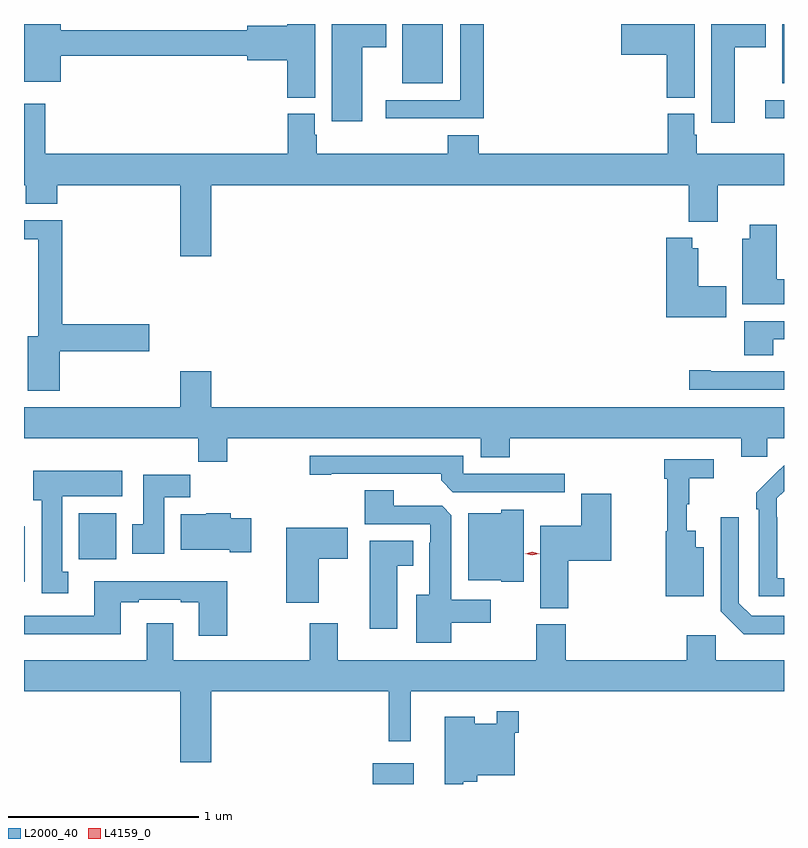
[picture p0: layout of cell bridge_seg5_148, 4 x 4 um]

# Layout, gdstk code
import gdstk
lib = gdstk.Library(unit=1e-6, precision=1e-09)
def R(c, l, rs):  # rectangles x0, y0, x1, y1
    for r in rs: c.add(gdstk.rectangle(r[:2], r[2:], *l))
def P(c, l, *ps):  # polygons
    for p in ps: c.add(gdstk.Polygon(p, *l))
L2000_40 = (2000, 40)
L4159_0 = (4159, 0)

bridge_seg5_148 = lib.new_cell('bridge_seg5_148')
R(bridge_seg5_148, L2000_40, [(154.034,884.244,154.249,884.353), (152.198,885.308,152.203,885.6), (152.486,885.428,152.683,885.67), (156.099,887.747,156.198,887.844), (154.19,887.933,154.402,888.244), (156.188,887.933,156.198,888.244)])
P(bridge_seg5_148, L2000_40, [(153.73,888.244),(153.584,888.244),(153.584,888.236),(153.374,888.236),(153.374,888.212),(152.392,888.212),(152.392,888.244),(152.198,888.244),(152.198,887.939),(152.392,887.939),(152.392,888.076),(153.374,888.076),(153.374,888.053),(153.584,888.053),(153.584,887.857),(153.73,887.857)],
  [(153.979,888.122),(154.105,888.122),(154.105,888.244),(153.818,888.244),(153.818,887.732),(153.979,887.732)],
  [(155.728,888.244),(155.342,888.244),(155.342,888.083),(155.582,888.083),(155.582,887.857),(155.728,887.857)],
  [(154.619,888.244),(154.493,888.244),(154.493,887.844),(154.101,887.844),(154.101,887.747),(154.619,887.747)],
  [(155.938,888.122),(156.103,888.122),(156.103,888.244),(155.816,888.244),(155.816,887.724),(155.938,887.724)],
  [(153.184,887.396),(155.696,887.396),(155.696,887.204),(155.848,887.204),(155.848,887.396),(156.198,887.396),(156.198,887.56),(155.738,887.56),(155.738,887.661),(155.725,887.661),(155.725,887.772),(155.585,887.772),(155.585,887.56),(154.592,887.56),(154.592,887.659),(154.427,887.659),(154.427,887.56),(153.74,887.56),(153.74,887.661),(153.727,887.661),(153.727,887.772),(153.587,887.772),(153.587,887.56),(152.309,887.56),(152.309,887.824),(152.198,887.824),(152.198,887.396),(152.207,887.396),(152.207,887.297),(152.372,887.297),(152.372,887.396),(153.02,887.396),(153.02,887.022),(153.184,887.022)],
  [(152.386,886.522),(152.857,886.522),(152.857,886.664),(152.399,886.664),(152.399,887.21),(152.198,887.21),(152.198,887.112),(152.273,887.112),(152.273,886.6),(152.219,886.6),(152.219,886.314),(152.386,886.314)],
  [(156.198,886.9),(156.16,886.9),(156.16,887.188),(156.017,887.188),(156.017,887.113),(155.978,887.113),(155.978,886.769),(156.198,886.769)],
  [(155.893,886.863),(155.746,886.863),(155.746,887.065),(155.716,887.065),(155.716,887.119),(155.579,887.119),(155.579,886.7),(155.893,886.7)],
  [(156.142,886.584),(156.198,886.584),(156.198,886.68),(155.99,886.68),(155.99,886.501),(156.142,886.501)],
  [(156.198,886.416),(155.812,886.416),(155.812,886.421),(155.7,886.421),(155.7,886.32),(156.198,886.32)],
  [(153.267,886.064),(154.601,886.064),(154.601,885.965),(154.754,885.965),(154.754,886.064),(155.972,886.064),(155.972,885.966),(156.111,885.966),(156.111,886.064),(156.198,886.064),(156.198,886.228),(153.184,886.228),(153.184,886.417),(153.02,886.417),(153.02,886.228),(152.198,886.228),(152.198,886.064),(153.115,886.064),(153.115,885.94),(153.267,885.94)],
  [(155.044,885.876),(154.509,885.876),(154.509,885.972),(153.702,885.972),(153.702,885.871),(153.814,885.871),(153.814,885.876),(154.394,885.876),(154.394,885.842),(154.455,885.78),(155.044,885.78)],
  [(155.776,885.49),(155.734,885.49),(155.734,885.577),(155.687,885.577),(155.687,885.717),(155.698,885.717),(155.698,885.853),(155.827,885.853),(155.827,885.954),(155.569,885.954),(155.569,885.851),(155.584,885.851),(155.584,885.573),(155.576,885.573),(155.576,885.233),(155.776,885.233)],
  [(156.198,885.327),(156.162,885.327),(156.162,885.647),(156.159,885.647),(156.159,885.747),(156.198,885.786),(156.198,885.922),(156.157,885.881),(156.156,885.882),(156.051,885.777),(156.051,885.689),(156.066,885.689),(156.066,885.231),(156.198,885.231)],
  [(152.431,885.362),(152.398,885.362),(152.398,885.758),(152.716,885.758),(152.716,885.892),(152.246,885.892),(152.246,885.738),(152.291,885.738),(152.291,885.249),(152.431,885.249)],
  [(152.935,885.752),(153.074,885.752),(153.074,885.871),(152.825,885.871),(152.825,885.612),(152.768,885.612),(152.768,885.456),(152.935,885.456)],
  [(154.447,885.092),(154.654,885.092),(154.654,885.214),(154.447,885.214),(154.447,885.659),(154.398,885.708),(154.144,885.708),(154.144,885.791),(153.992,885.791),(153.992,885.612),(154.335,885.612),(154.335,885.515),(154.331,885.515),(154.331,885.241),(154.262,885.241),(154.262,884.987),(154.447,884.987)],
  [(155.063,885.419),(155.29,885.419),(155.29,885.772),(155.132,885.772),(155.132,885.604),(154.916,885.604),(154.916,885.169),(155.063,885.169)],
  [(154.828,885.688),(154.71,885.688),(154.71,885.67),(154.535,885.67),(154.535,885.317),(154.71,885.317),(154.71,885.308),(154.828,885.308)],
  [(153.394,885.642),(153.287,885.642),(153.287,885.67),(153.156,885.67),(153.156,885.664),(153.023,885.664),(153.023,885.476),(153.281,885.476),(153.281,885.464),(153.394,885.464)],
  [(156.198,885.129),(156.027,885.129),(155.961,885.195),(155.961,885.649),(155.865,885.649),(155.865,885.153),(155.986,885.032),(156.198,885.032)],
  [(153.748,885.43),(153.901,885.43),(153.901,885.592),(153.578,885.592),(153.578,885.197),(153.748,885.197)],
  [(154.162,885.392),(154.246,885.392),(154.246,885.523),(154.019,885.523),(154.019,885.06),(154.162,885.06)],
  [(153.267,885.31),(152.567,885.31),(152.567,885.129),(152.198,885.129),(152.198,885.032),(152.707,885.032),(152.707,885.201),(152.803,885.201),(152.803,885.213),(153.023,885.213),(153.023,885.201),(153.119,885.201),(153.119,885.024),(153.267,885.024)],
  [(153.184,884.732),(154.117,884.732),(154.117,884.469),(154.234,884.469),(154.234,884.732),(156.198,884.732),(156.198,884.896),(155.838,884.896),(155.838,885.028),(155.687,885.028),(155.687,884.896),(155.048,884.896),(155.048,885.084),(154.895,885.084),(154.895,884.896),(153.85,884.896),(153.85,885.091),(153.703,885.091),(153.703,884.896),(152.983,884.896),(152.983,885.091),(152.843,885.091),(152.843,884.896),(152.198,884.896),(152.198,884.732),(153.02,884.732),(153.02,884.358),(153.184,884.358)],
  [(154.509,884.255),(154.583,884.255),(154.583,884.291),(154.782,884.291),(154.782,884.513),(154.802,884.513),(154.802,884.626),(154.686,884.626),(154.686,884.56),(154.57,884.56),(154.57,884.599),(154.412,884.599),(154.412,884.244),(154.509,884.244)])
P(bridge_seg5_148, L4159_0, [(154.873,885.447),(154.835,885.457),(154.835,885.457),(154.835,885.457),(154.873,885.467),(154.911,885.457),(154.911,885.457),(154.911,885.457)])

lib.write_gds('bridge_seg5_148.gds')
